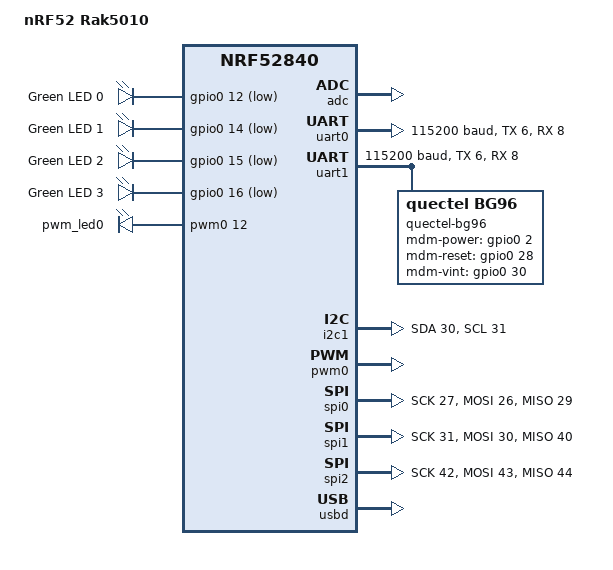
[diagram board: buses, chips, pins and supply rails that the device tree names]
/*
 * Copyright (c) 2017 Linaro Limited
 *
 * SPDX-License-Identifier: Apache-2.0
 */

/dts-v1/;
#include <nordic/nrf52840_qiaa.dtsi>
#include <dt-bindings/gpio/gpio.h>

/ {
	model = "nRF52 Rak5010";
	compatible = "nordic,pca10056-dk", "nordic,nrf52840-qiaa",
		     "nordic,nrf52840";

	chosen {
		zephyr,console = &uart0;
		zephyr,uart-mcumgr = &uart0;
		zephyr,shell-uart = &uart0;
		zephyr,sram = &sram0;
		zephyr,flash = &flash0;
		zephyr,code-partition = &slot0_partition;
	};

	leds {
		compatible = "gpio-leds";
		led0: led_0 {
			gpios = <&gpio0 12 GPIO_INT_ACTIVE_LOW>;
			label = "Green LED 0";
		};
		led1: led_1 {
			gpios = <&gpio0 14 GPIO_INT_ACTIVE_LOW>;
			label = "Green LED 1";
		};
		led2: led_2 {
			gpios = <&gpio0 15 GPIO_INT_ACTIVE_LOW>;
			label = "Green LED 2";
		};
		led3: led_3 {
			gpios = <&gpio0 16 GPIO_INT_ACTIVE_LOW>;
			label = "Green LED 3";
		};
	};

	pwmleds {
		compatible = "pwm-leds";
		pwm_led0: pwm_led_0 {
			pwms = <&pwm0 12>;
		};
	};

};

&adc {
	status = "okay";
};

&gpiote {
	status = "okay";
};

&gpio0 {
	status = "okay";
};

&gpio1 {
	status = "okay";
};

&uart0 {
	compatible = "nordic,nrf-uart";
	status = "okay";
	current-speed = <115200>;
	tx-pin = <6>;
	rx-pin = <8>;
	rts-pin = <7>;
	cts-pin = <11>;
};

&uart1 { 
	compatible = "nordic,nrf-uarte";
	current-speed = <115200>;
	status = "okay";

	tx-pin = <6>;
	rx-pin = <8>;
	rts-pin = <7>;
	cts-pin = <11>;

	bg96 {
		compatible = "quectel,bg96";
		label = "quectel-bg96";
		status = "okay";

		mdm-power-gpios = <&gpio0 2 0>;
		mdm-reset-gpios = <&gpio0 28 0>;
		mdm-vint-gpios  = <&gpio0 30 0>;
	};
	
};

&i2c1 {
	compatible = "nordic,nrf-twi";
	/* Cannot be used together with spi1. */
	/* status = "okay"; */
	sda-pin = <30>;
	scl-pin = <31>;
};

&pwm0 {
	status = "okay";
	ch0-pin = <12>;
	ch0-inverted;
};

&spi0 {
	compatible = "nordic,nrf-spi";
	/* Cannot be used together with i2c0. */
	/* status = "okay"; */
	sck-pin = <27>;
	mosi-pin = <26>;
	miso-pin = <29>;
};

&spi1 {
	compatible = "nordic,nrf-spi";
	status = "okay";
	sck-pin = <31>;
	mosi-pin = <30>;
	miso-pin = <40>;
};

&spi2 {
	compatible = "nordic,nrf-spi";
	status = "okay";
	sck-pin = <42>;
	mosi-pin = <43>;
	miso-pin = <44>;
};


&flash0 {
	/*
	 * For more information, see:
	 * http://docs.zephyrproject.org/latest/guides/dts/index.html#flash-partitions
	 */
	partitions {
		compatible = "fixed-partitions";
		#address-cells = <1>;
		#size-cells = <1>;

		boot_partition: partition@0 {
			label = "mcuboot";
			reg = <0x000000000 0x0000C000>;
		};
		slot0_partition: partition@c000 {
			label = "image-0";
			reg = <0x0000C000 0x000067000>;
		};
		slot1_partition: partition@73000 {
			label = "image-1";
			reg = <0x00073000 0x000067000>;
		};
		scratch_partition: partition@da000 {
			label = "image-scratch";
			reg = <0x000da000 0x0001e000>;
		};

		/*
		 * The flash starting at 0x000f8000 and ending at
		 * 0x000fffff is reserved for use by the application.
		 */

		/*
		 * Storage partition will be used by FCB/LittleFS/NVS
		 * if enabled.
		 */
		storage_partition: partition@f8000 {
			label = "storage";
			reg = <0x000f8000 0x00008000>;
		};
	};
};

&usbd {
	compatible = "nordic,nrf-usbd";
	status = "okay";
};
